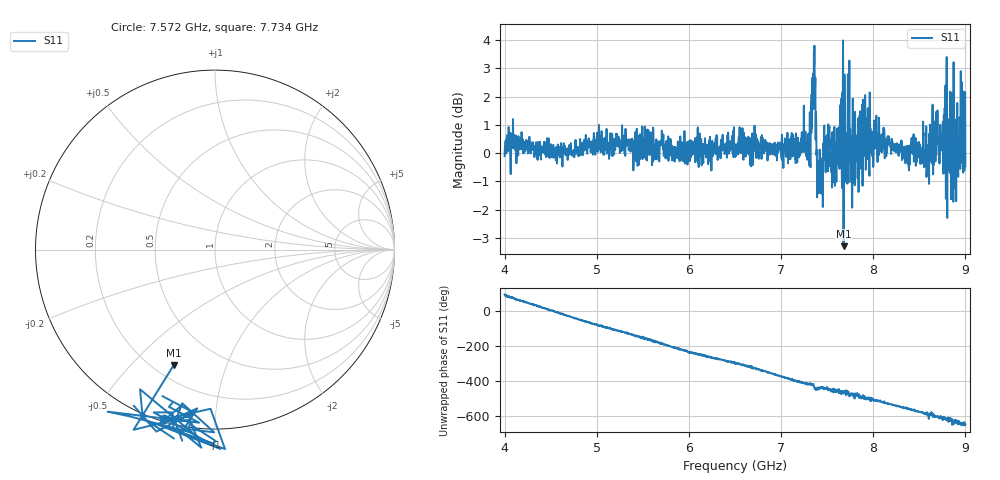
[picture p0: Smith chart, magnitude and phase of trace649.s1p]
! Created with skrf 1.8.0 (http://scikit-rf.org).
# Hz S RI R 50.0
!freq ReS11 ImS11
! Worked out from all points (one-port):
!   1601 points, 4 GHz to 9 GHz, reference 50 ohm
!   lowest |S11| = -3.3 dB at 7.678 GHz (marker M1), VSWR 5.35, Z = 13.7 - j33.4 ohm
!   |S11| at or under -10 dB: nowhere
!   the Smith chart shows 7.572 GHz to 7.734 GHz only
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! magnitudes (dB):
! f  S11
! 4 GHz  -0.1
! 4.1 GHz  0.2
! 4.625 GHz  -0.3
! 5.25 GHz  0.0
! 5.875 GHz  -0.2
! 6.5 GHz  0.2
! 7.125 GHz  0.1
! 7.294 GHz  0.4
! 7.328 GHz  0.7
! 7.347 GHz  2.8
! 7.362 GHz  3.8
! 7.4 GHz  -0.7
! 7.416 GHz  -0.6
! 7.512 GHz  1.0
! 7.575 GHz  -1.0
! 7.638 GHz  0.7
! 7.65 GHz  1.9
! 7.678 GHz  -3.3
! 7.75 GHz  0.9
! 7.775 GHz  0.0
! 7.903 GHz  0.4
! 8.375 GHz  -0.1
! 8.434 GHz  0.0
! 8.581 GHz  -0.6
! 8.759 GHz  -0.3
! 8.906 GHz  0.5
! 8.959 GHz  2.5
! 9 GHz  -0.5
